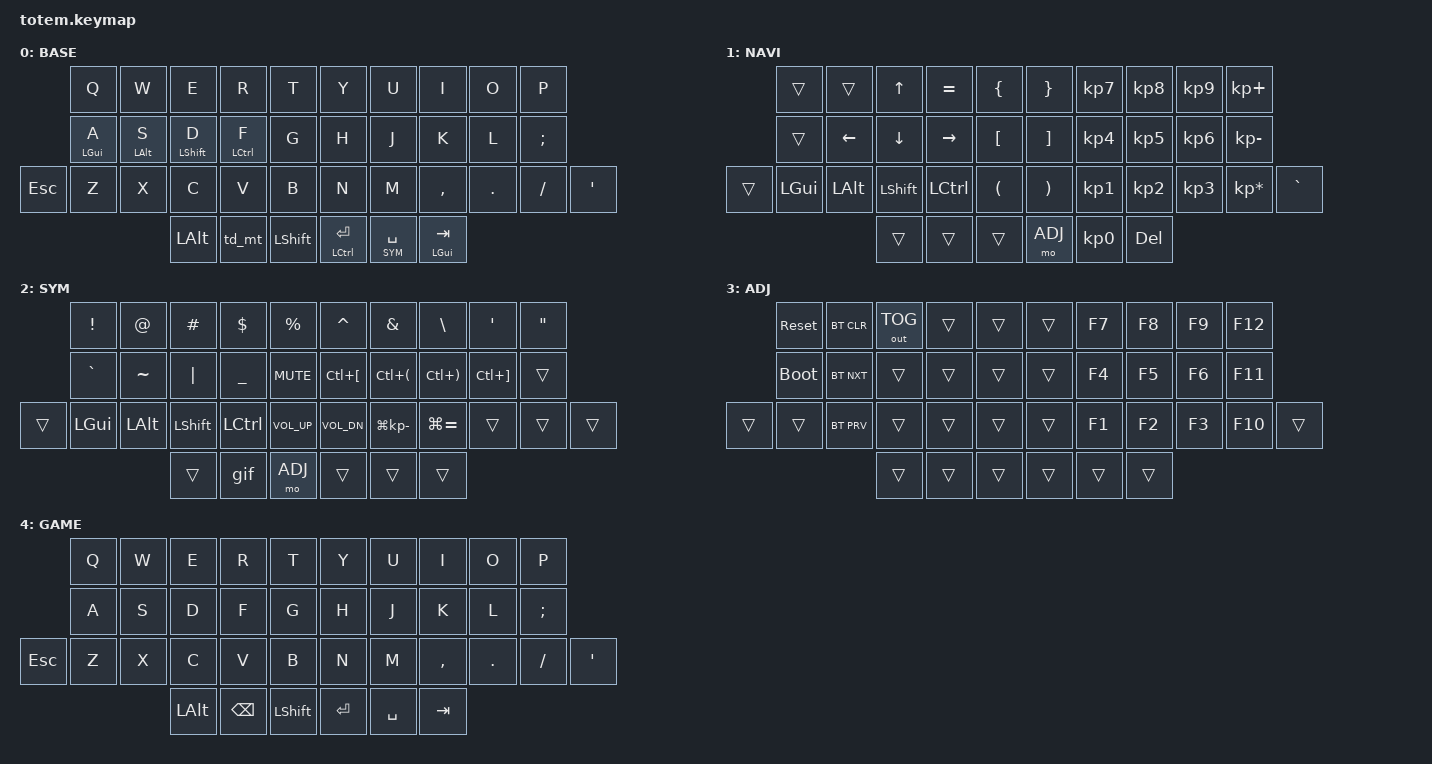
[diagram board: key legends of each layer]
//
//                                                        ▀▀▀▀▀     ▀▀▀▀▀          ▀▀█▀▀
//                                                        ▄▀▀▀▄  ▄  ▄▀▀▀▄  ▄  ▄▀▀▀▄  █  ▄▀▀▀▄
//                                                        █   █  █  █   █  █  █   █  █  █   █
//                                                         ▀▀▀   █   ▀▀▀   █   ▀▀▀   ▀   ▀▀▀
//                                                               █      ▄▄▄█▄▄▄    █   █  
//                                                               ▀      █  █  █     █▄█
//                                                             ▀▀▀▀▀    █  █  █      ▀
//                                                                      ▀  ▀  ▀
//
// ▄▄▄▄▄▄▄▄▄▄▄▄▄▄▄▄▄▄▄▄▄▄▄▄▄▄▄▄▄▄▄▄▄▄▄▄▄▄▄▄▄▄▄▄▄▄▄▄▄▄▄▄▄▄▄▄▄▄▄▄▄▄▄▄▄▄▄▄▄▄▄▄▄▄▄▄▄▄▄▄▄▄▄▄▄▄▄▄▄▄▄▄▄▄▄▄▄▄▄▄▄▄▄▄▄▄▄▄▄▄▄▄▄▄▄▄▄▄▄▄▄▄▄▄▄▄▄▄▄▄▄▄▄▄▄▄▄▄▄▄▄▄▄▄▄▄▄▄▄
       

#include <behaviors.dtsi>
#include <dt-bindings/zmk/keys.h>
#include <dt-bindings/zmk/bt.h>
#include <dt-bindings/zmk/outputs.h>

#define BASE 0
#define NAV  1
#define SYM  2
#define ADJ  3
#define GAME 4

&mt {
  quick-tap-ms = <100>;
  global-quick-tap;
  flavor = "tap-preferred";
  tapping-term-ms = <170>;
};

/ {
     combos {
            compatible = "zmk,combos";
            combo_esc {
                timeout-ms = <50>;
                key-positions = <0 1>;
                bindings = <&kp ESC>;
            };
            combo_game {
                timeout-ms = <100>;
                key-positions = <11 12 13>;
                bindings = <&tog GAME>;
            };
    };

    behaviors {
        td_mt: tap_dance_mod_tap {
            compatible = "zmk,behavior-tap-dance";
            #binding-cells = <0>;
            tapping-term-ms = <143>;
            bindings = <&lt NAV BSPC>, <&kp BSPC>;
        };
    };

    macros {
        gif: gif {
            label = "giphy";
            compatible = "zmk,behavior-macro";
            #binding-cells = <0>;
            bindings
                = <&macro_press &kp LSHFT>
                , <&macro_tap &kp N2>
                , <&macro_release &kp LSHFT>
                , <&macro_tap &kp G &kp I &kp F>
                ;
        };
    };

        keymap {
                compatible = "zmk,keymap";
// ▄▄▄▄▄▄▄▄▄▄▄▄▄▄▄▄▄▄▄▄▄▄▄▄▄▄▄▄▄▄▄▄▄▄▄▄▄▄▄▄▄▄▄▄▄▄▄▄▄▄▄▄▄▄▄▄▄▄▄▄▄▄▄▄▄▄▄▄▄▄▄▄▄▄▄▄▄▄▄▄▄▄▄▄▄▄▄▄▄▄▄▄▄▄▄▄▄▄▄▄▄▄▄▄▄▄▄▄▄▄▄▄▄▄▄▄▄▄▄▄▄▄▄▄▄▄▄▄▄▄▄▄▄▄▄▄▄▄▄▄▄▄▄▄▄▄▄▄▄

                base_layer {
// ┏━━━━━━━━━━━━━━━━━━━━━━━━━━━━━━━━━━━━━━━┓
label= "BASE"                              ;
// ┗━━━━━━━━━━━━━━━━━━━━━━━━━━━━━━━━━━━━━━━┛
//             ┏━━━━━━━━━━━┳━━━━━━━━━━━┳━━━━━━━━━━━┳━━━━━━━━━━━┳━━━━━━━━━━━┓   ┏━━━━━━━━━━━┳━━━━━━━━━━━┳━━━━━━━━━━━┳━━━━━━━━━━━┳━━━━━━━━━━━┓
//             ┃     Q     ┃     W     ┃     E     ┃     R     ┃     T     ┃   ┃     Y     ┃     U     ┃     I     ┃     O     ┃     P     ┃
//             ┣━━━━━━━━━━━╋━━━━━━━━━━━╋━━━━━━━━━━━╋━━━━━━━━━━━╋━━━━━━━━━━━┫   ┣━━━━━━━━━━━╋━━━━━━━━━━━╋━━━━━━━━━━━╋━━━━━━━━━━━╋━━━━━━━━━━━┫
//             ┃     A     ┃     S     ┃     D     ┃     F     ┃     G     ┃   ┃     H     ┃     J     ┃     K     ┃     L     ┃     ;     ┃
// ┏━━━━━━━━━━━╋━━━━━━━━━━━╋━━━━━━━━━━━╋━━━━━━━━━━━╋━━━━━━━━━━━╋━━━━━━━━━━━┫   ┣━━━━━━━━━━━╋━━━━━━━━━━━╋━━━━━━━━━━━╋━━━━━━━━━━━╋━━━━━━━━━━━╋━━━━━━━━━━━┓
// ┃    ESC    ┃     Z     ┃     X     ┃     C     ┃     V     ┃     B     ┃   ┃     N     ┃     M     ┃     ,     ┃     .     ┃     /     ┃     '     ┃
// ┗━━━━━━━━━━━┻━━━━━━━━━━━┻━━━━━━━━━━━╋━━━━━━━━━━━╋━━━━━━━━━━━╋━━━━━━━━━━━┫   ┣━━━━━━━━━━━╋━━━━━━━━━━━╋━━━━━━━━━━━╋━━━━━━━━━━━┻━━━━━━━━━━━┻━━━━━━━━━━━┛
//                                     ┃    ALT    ┃    BSPC   ┃   LSHFT   ┃   ┃   ENTER   ┃    SPC    ┃    TAB    ┃
//                                     ┗━━━━━━━━━━━┻━━━━━━━━━━━┻━━━━━━━━━━━┛   ┗━━━━━━━━━━━┻━━━━━━━━━━━┻━━━━━━━━━━━┛
 bindings = <
// ╷           ╷           ╷           ╷           ╷           ╷           ╷   ╷           ╷           ╷           ╷           ╷           ╷           ╷

                &kp Q       &kp W       &kp E       &kp R       &kp T           &kp Y       &kp U       &kp I       &kp O       &kp P
                &mt LGUI A  &mt LALT S  &mt LSHFT D &mt LCTRL F &kp G           &kp H       &kp J       &kp K       &kp L       &kp SEMI
    &kp ESC     &kp Z       &kp X       &kp C       &kp V       &kp B           &kp N       &kp M       &kp COMMA   &kp DOT     &kp FSLH    &kp SQT
                                        &kp LALT    &td_mt  &kp LSHFT  &mt LCTRL RET  &lt SYM SPACE &mt LGUI TAB
                        >;
                };

// ▄▄▄▄▄▄▄▄▄▄▄▄▄▄▄▄▄▄▄▄▄▄▄▄▄▄▄▄▄▄▄▄▄▄▄▄▄▄▄▄▄▄▄▄▄▄▄▄▄▄▄▄▄▄▄▄▄▄▄▄▄▄▄▄▄▄▄▄▄▄▄▄▄▄▄▄▄▄▄▄▄▄▄▄▄▄▄▄▄▄▄▄▄▄▄▄▄▄▄▄▄▄▄▄▄▄▄▄▄▄▄▄▄▄▄▄▄▄▄▄▄▄▄▄▄▄▄▄▄▄▄▄▄▄▄▄▄▄▄▄▄▄▄▄▄▄▄▄▄


                nav_layer {
// ┏━━━━━━━━━━━━━━━━━━━━━━━━━━━━━━━━━━━━━━━┓
label= "NAVI"                              ;
// ┗━━━━━━━━━━━━━━━━━━━━━━━━━━━━━━━━━━━━━━━┛
//             ┏━━━━━━━━━━━┳━━━━━━━━━━━┳━━━━━━━━━━━┳━━━━━━━━━━━┳━━━━━━━━━━━┓   ┏━━━━━━━━━━━┳━━━━━━━━━━━┳━━━━━━━━━━━┳━━━━━━━━━━━┳━━━━━━━━━━━┓
//             ┃           ┃           ┃     UP    ┃     =     ┃     {     ┃   ┃     }     ┃     7     ┃     8     ┃     9     ┃     +     ┃
//             ┣━━━━━━━━━━━╋━━━━━━━━━━━╋━━━━━━━━━━━╋━━━━━━━━━━━╋━━━━━━━━━━━┫   ┣━━━━━━━━━━━╋━━━━━━━━━━━╋━━━━━━━━━━━╋━━━━━━━━━━━╋━━━━━━━━━━━┫
//             ┃           ┃   LEFT    ┃    DOWN   ┃   RIGHT   ┃     [     ┃   ┃     ]     ┃     4     ┃     5     ┃     6     ┃     -     ┃
// ┏━━━━━━━━━━━╋━━━━━━━━━━━╋━━━━━━━━━━━╋━━━━━━━━━━━╋━━━━━━━━━━━╋━━━━━━━━━━━┫   ┣━━━━━━━━━━━╋━━━━━━━━━━━╋━━━━━━━━━━━╋━━━━━━━━━━━╋━━━━━━━━━━━╋━━━━━━━━━━━┓
// ┃           ┃    GUI    ┃    ALT    ┃   SHIFT   ┃    CTRL   ┃     (     ┃   ┃     )     ┃     1     ┃     2     ┃     3     ┃     *     ┃     `     ┃
// ┗━━━━━━━━━━━┻━━━━━━━━━━━┻━━━━━━━━━━━╋━━━━━━━━━━━╋━━━━━━━━━━━╋━━━━━━━━━━━┫   ┣━━━━━━━━━━━╋━━━━━━━━━━━╋━━━━━━━━━━━╋━━━━━━━━━━━┻━━━━━━━━━━━┻━━━━━━━━━━━┛
//                                     ┃           ┃           ┃           ┃   ┃    ADJ    ┃     0     ┃    DEL    ┃
//                                     ┗━━━━━━━━━━━┻━━━━━━━━━━━┻━━━━━━━━━━━┛   ┗━━━━━━━━━━━┻━━━━━━━━━━━┻━━━━━━━━━━━┛
 bindings = <
// ╷           ╷           ╷           ╷           ╷           ╷           ╷   ╷           ╷           ╷           ╷           ╷           ╷           ╷

                &trans   &trans      &kp UP      &kp EQUAL   &kp LBRC        &kp RBRC    &kp KP_N7   &kp KP_N8   &kp KP_N9   &kp KP_PLUS
                &trans     &kp LEFT    &kp DOWN    &kp RIGHT   &kp LBKT        &kp RBKT    &kp KP_N4   &kp KP_N5   &kp KP_N6   &kp KP_MINUS
    &trans      &kp LGUI    &kp LALT    &kp LSHFT   &kp LCTRL   &kp LPAR        &kp RPAR    &kp KP_N1   &kp KP_N2   &kp KP_N3   &kp KP_MULTIPLY &kp GRAVE
                                        &trans      &trans      &trans            &mo ADJ     &kp KP_N0   &kp DEL      
                        >;
                };

// ▄▄▄▄▄▄▄▄▄▄▄▄▄▄▄▄▄▄▄▄▄▄▄▄▄▄▄▄▄▄▄▄▄▄▄▄▄▄▄▄▄▄▄▄▄▄▄▄▄▄▄▄▄▄▄▄▄▄▄▄▄▄▄▄▄▄▄▄▄▄▄▄▄▄▄▄▄▄▄▄▄▄▄▄▄▄▄▄▄▄▄▄▄▄▄▄▄▄▄▄▄▄▄▄▄▄▄▄▄▄▄▄▄▄▄▄▄▄▄▄▄▄▄▄▄▄▄▄▄▄▄▄▄▄▄▄▄▄▄▄▄▄▄▄▄▄▄▄▄


                sim_layer {
// ┏━━━━━━━━━━━━━━━━━━━━━━━━━━━━━━━━━━━━━━━┓
label= "SYM"                               ;
// ┗━━━━━━━━━━━━━━━━━━━━━━━━━━━━━━━━━━━━━━━┛
//             ┏━━━━━━━━━━━┳━━━━━━━━━━━┳━━━━━━━━━━━┳━━━━━━━━━━━┳━━━━━━━━━━━┓   ┏━━━━━━━━━━━┳━━━━━━━━━━━┳━━━━━━━━━━━┳━━━━━━━━━━━┳━━━━━━━━━━━┓
//             ┃     !     ┃     @     ┃     #     ┃     $     ┃     %     ┃   ┃     ˆ     ┃     &     ┃     \     ┃     '     ┃     "     ┃
//             ┣━━━━━━━━━━━╋━━━━━━━━━━━╋━━━━━━━━━━━╋━━━━━━━━━━━╋━━━━━━━━━━━┫   ┣━━━━━━━━━━━╋━━━━━━━━━━━╋━━━━━━━━━━━╋━━━━━━━━━━━╋━━━━━━━━━━━┫
//             ┃     `     ┃     ~     ┃     |     ┃     _     ┃    MUTE   ┃   ┃tmux_win < ┃tmux_se << ┃tumx_se >> ┃tmux_win > ┃           ┃
// ┏━━━━━━━━━━━╋━━━━━━━━━━━╋━━━━━━━━━━━╋━━━━━━━━━━━╋━━━━━━━━━━━╋━━━━━━━━━━━┫   ┣━━━━━━━━━━━╋━━━━━━━━━━━╋━━━━━━━━━━━╋━━━━━━━━━━━╋━━━━━━━━━━━╋━━━━━━━━━━━┓
// ┃           ┃    GUI    ┃    ALT    ┃   SHIFT   ┃    CTRL   ┃    VOL+   ┃   ┃   VOL-    ┃   ZOOM-   ┃   ZOOM+   ┃           ┃           ┃           ┃
// ┗━━━━━━━━━━━┻━━━━━━━━━━━┻━━━━━━━━━━━╋━━━━━━━━━━━╋━━━━━━━━━━━╋━━━━━━━━━━━┫   ┣━━━━━━━━━━━╋━━━━━━━━━━━╋━━━━━━━━━━━╋━━━━━━━━━━━┻━━━━━━━━━━━┻━━━━━━━━━━━┛
//                                     ┃           ┃    GIF    ┃    ADJ    ┃   ┃           ┃           ┃           ┃
//                                     ┗━━━━━━━━━━━┻━━━━━━━━━━━┻━━━━━━━━━━━┛   ┗━━━━━━━━━━━┻━━━━━━━━━━━┻━━━━━━━━━━━┛
 bindings = <
// ╷           ╷           ╷           ╷           ╷           ╷           ╷   ╷           ╷           ╷           ╷           ╷           ╷           ╷

                &kp EXCL    &kp AT      &kp HASH    &kp DLLR    &kp PRCNT       &kp CARET   &kp AMPS    &kp BSLH    &kp SQT     &kp DQT       
                &kp GRAVE   &kp TILDE   &kp PIPE    &kp UNDER   &kp C_MUTE  &kp LC(LBKT) &kp LC(LPAR) &kp LC(RPAR) &kp LC(RBKT) &trans 
    &trans      &kp LGUI    &kp LALT    &kp LSHFT   &kp LCTRL  &kp C_VOL_UP &kp C_VOL_DN &kp LG(KP_MINUS) &kp LG(EQUAL) &trans &trans   &trans         
                                        &trans      &gif        &mo ADJ         &trans      &trans    &trans      
                        >;
                };

// ▄▄▄▄▄▄▄▄▄▄▄▄▄▄▄▄▄▄▄▄▄▄▄▄▄▄▄▄▄▄▄▄▄▄▄▄▄▄▄▄▄▄▄▄▄▄▄▄▄▄▄▄▄▄▄▄▄▄▄▄▄▄▄▄▄▄▄▄▄▄▄▄▄▄▄▄▄▄▄▄▄▄▄▄▄▄▄▄▄▄▄▄▄▄▄▄▄▄▄▄▄▄▄▄▄▄▄▄▄▄▄▄▄▄▄▄▄▄▄▄▄▄▄▄▄▄▄▄▄▄▄▄▄▄▄▄▄▄▄▄▄▄▄▄▄▄▄▄▄


                adjust_layer {
// ┏━━━━━━━━━━━━━━━━━━━━━━━━━━━━━━━━━━━━━━━┓
label= "ADJ"                               ;
// ┗━━━━━━━━━━━━━━━━━━━━━━━━━━━━━━━━━━━━━━━┛
//             ┏━━━━━━━━━━━┳━━━━━━━━━━━┳━━━━━━━━━━━┳━━━━━━━━━━━┳━━━━━━━━━━━┓   ┏━━━━━━━━━━━┳━━━━━━━━━━━┳━━━━━━━━━━━┳━━━━━━━━━━━┳━━━━━━━━━━━┓
//             ┃   RESET   ┃ BT CLEAR  ┃  OUT TOG  ┃           ┃           ┃   ┃           ┃    F7     ┃    F8     ┃    F9     ┃    F12    ┃
//             ┣━━━━━━━━━━━╋━━━━━━━━━━━╋━━━━━━━━━━━╋━━━━━━━━━━━╋━━━━━━━━━━━┫   ┣━━━━━━━━━━━╋━━━━━━━━━━━╋━━━━━━━━━━━╋━━━━━━━━━━━╋━━━━━━━━━━━┫
//             ┃ BOOTLOAD  ┃ BT NEXT   ┃           ┃           ┃           ┃   ┃           ┃    F4     ┃    F5     ┃    F6     ┃    F11    ┃
// ┏━━━━━━━━━━━╋━━━━━━━━━━━╋━━━━━━━━━━━╋━━━━━━━━━━━╋━━━━━━━━━━━╋━━━━━━━━━━━┫   ┣━━━━━━━━━━━╋━━━━━━━━━━━╋━━━━━━━━━━━╋━━━━━━━━━━━╋━━━━━━━━━━━╋━━━━━━━━━━━┓
// ┃           ┃           ┃ BT PREV   ┃           ┃           ┃           ┃   ┃           ┃    F1     ┃    F2     ┃    F3     ┃    F10    ┃           ┃
// ┗━━━━━━━━━━━┻━━━━━━━━━━━┻━━━━━━━━━━━╋━━━━━━━━━━━╋━━━━━━━━━━━╋━━━━━━━━━━━┫   ┣━━━━━━━━━━━╋━━━━━━━━━━━╋━━━━━━━━━━━╋━━━━━━━━━━━┻━━━━━━━━━━━┻━━━━━━━━━━━┛
//                                     ┃           ┃           ┃           ┃   ┃           ┃           ┃           ┃
//                                     ┗━━━━━━━━━━━┻━━━━━━━━━━━┻━━━━━━━━━━━┛   ┗━━━━━━━━━━━┻━━━━━━━━━━━┻━━━━━━━━━━━┛
 bindings = <
// ╷           ╷           ╷           ╷           ╷           ╷           ╷   ╷           ╷           ╷           ╷           ╷           ╷           ╷

                &sys_reset  &bt BT_CLR &out OUT_TOG &trans      &trans          &trans      &kp F7      &kp F8      &kp F9      &kp F12
                &bootloader &bt BT_NXT  &trans      &trans      &trans          &trans      &kp F4      &kp F5      &kp F6      &kp F11  
    &trans      &trans      &bt BT_PRV  &trans      &trans      &trans          &trans      &kp F1      &kp F2      &kp F3      &kp F10     &trans         
                                        &trans      &trans      &trans          &trans      &trans      &trans      
                        >;
                };

// ▄▄▄▄▄▄▄▄▄▄▄▄▄▄▄▄▄▄▄▄▄▄▄▄▄▄▄▄▄▄▄▄▄▄▄▄▄▄▄▄▄▄▄▄▄▄▄▄▄▄▄▄▄▄▄▄▄▄▄▄▄▄▄▄▄▄▄▄▄▄▄▄▄▄▄▄▄▄▄▄▄▄▄▄▄▄▄▄▄▄▄▄▄▄▄▄▄▄▄▄▄▄▄▄▄▄▄▄▄▄▄▄▄▄▄▄▄▄▄▄▄▄▄▄▄▄▄▄▄▄▄▄▄▄▄▄▄▄▄▄▄▄▄▄▄▄▄▄▄

                game_layer {
// ┏━━━━━━━━━━━━━━━━━━━━━━━━━━━━━━━━━━━━━━━┓
label= "GAME"                              ;
// ┗━━━━━━━━━━━━━━━━━━━━━━━━━━━━━━━━━━━━━━━┛
//             ┏━━━━━━━━━━━┳━━━━━━━━━━━┳━━━━━━━━━━━┳━━━━━━━━━━━┳━━━━━━━━━━━┓   ┏━━━━━━━━━━━┳━━━━━━━━━━━┳━━━━━━━━━━━┳━━━━━━━━━━━┳━━━━━━━━━━━┓
//             ┃     Q     ┃     W     ┃     E     ┃     R     ┃     T     ┃   ┃     Y     ┃     U     ┃     I     ┃     O     ┃     P     ┃
//             ┣━━━━━━━━━━━╋━━━━━━━━━━━╋━━━━━━━━━━━╋━━━━━━━━━━━╋━━━━━━━━━━━┫   ┣━━━━━━━━━━━╋━━━━━━━━━━━╋━━━━━━━━━━━╋━━━━━━━━━━━╋━━━━━━━━━━━┫
//             ┃     A     ┃     S     ┃     D     ┃     F     ┃     G     ┃   ┃     H     ┃     J     ┃     K     ┃     L     ┃     ;     ┃
// ┏━━━━━━━━━━━╋━━━━━━━━━━━╋━━━━━━━━━━━╋━━━━━━━━━━━╋━━━━━━━━━━━╋━━━━━━━━━━━┫   ┣━━━━━━━━━━━╋━━━━━━━━━━━╋━━━━━━━━━━━╋━━━━━━━━━━━╋━━━━━━━━━━━╋━━━━━━━━━━━┓
// ┃    ESC    ┃     Z     ┃     X     ┃     C     ┃     V     ┃     B     ┃   ┃     N     ┃     M     ┃     ,     ┃     .     ┃     /     ┃     '     ┃
// ┗━━━━━━━━━━━┻━━━━━━━━━━━┻━━━━━━━━━━━╋━━━━━━━━━━━╋━━━━━━━━━━━╋━━━━━━━━━━━┫   ┣━━━━━━━━━━━╋━━━━━━━━━━━╋━━━━━━━━━━━╋━━━━━━━━━━━┻━━━━━━━━━━━┻━━━━━━━━━━━┛
//                                     ┃    ALT    ┃    BSPC   ┃   LSHFT   ┃   ┃   ENTER   ┃    SPC    ┃    TAB    ┃
//                                     ┗━━━━━━━━━━━┻━━━━━━━━━━━┻━━━━━━━━━━━┛   ┗━━━━━━━━━━━┻━━━━━━━━━━━┻━━━━━━━━━━━┛
 bindings = <
                &kp Q       &kp W       &kp E       &kp R       &kp T           &kp Y       &kp U       &kp I       &kp O       &kp P
                &kp A       &kp S       &kp D       &kp F       &kp G           &kp H       &kp J       &kp K       &kp L       &kp SEMI
    &kp ESC     &kp Z       &kp X       &kp C       &kp V       &kp B           &kp N       &kp M       &kp COMMA   &kp DOT     &kp FSLH    &kp SQT
                                        &kp LALT    &kp BSPC    &kp LSHFT       &kp RET     &kp SPACE   &kp TAB
                        >;
                };
        };
};
